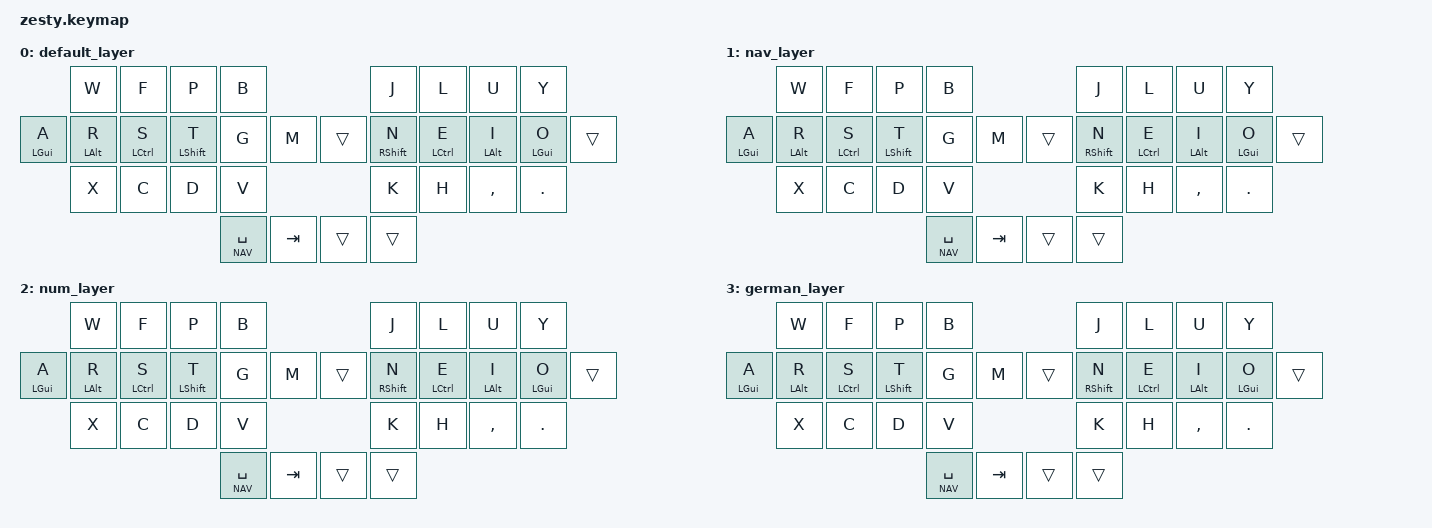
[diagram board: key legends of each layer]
#include <behaviors.dtsi>
#include <dt-bindings/zmk/keys.h>

#include "helper.h"
#include "zesty32keys.h"
#include "german.dtsi"

/* layer and key shortcuts */

#define ___ &trans

#define DEF 0  // layer shortcuts, must match order in which they are defined below
#define NAV 1
#define NUM 2
#define GER 3

/* custom behaviors */

// homerow mods
ZMK_BEHAVIOR(hrm, hold_tap,
    flavor = "balanced";
    tapping-term-ms = <280>;
    quick-tap-ms = <125>;
    bindings = <&kp>, <&kp>;
)

// tap: sticky shift | double tap: capsword
ZMK_BEHAVIOR(ss_cw, tap_dance,
    tapping-term-ms = <200>;
    bindings = <&sk LSHFT>, <&caps_word>;
)

// tap: backspace | shift + tap: delete | hold: num layer
ZMK_BEHAVIOR(bs_del_num, mod_morph,
    bindings = <&lt NUM BSPC>, <&kp DEL>;
    mods = <(MOD_LSFT|MOD_RSFT)>;
)

// windows sleep macro
ZMK_BEHAVIOR(win_sleep, macro,
    wait-ms = <100>;
    tap-ms = <5>;
    bindings = <&kp LG(X) &kp U &kp S>;
)

// euro sign
ZMK_UNICODE_SINGLE(euro_sign, N2, N0, A, C)  // €

// replace a/o/u/s with German umlauts when NAV and NUM are held jointly
ZMK_CONDITIONAL_LAYER(NAV NUM, GER)

// combos
#undef COMBO_TERM
#define COMBO_TERM 40  // timeout of 40ms (default is 30ms if omitted)
ZMK_COMBO(combo_sleep,  &win_sleep, RT2 RT3, NAV)  // custom sleep macro, only active on NAV layer
ZMK_COMBO(combo_copy,   &kp LC(C),  LB2 LB3, ALL)  // Ctrl + C, active on all layers
ZMK_COMBO(combo_paste,  &kp LC(V),  LB1 LB2, ALL)  // Ctrl + V, active on all layers

/* keymap */

ZMK_LAYER(default_layer,
     //               ╭─────────────┬─────────────┬─────────────┬─────────────╮                             ╭─────────────┬─────────────┬─────────────┬─────────────╮
                        &kp W         &kp F         &kp P         &kp B                                       &kp J         &kp L         &kp U         &kp Y        
     // ╭─────────────┼─────────────┼─────────────┼─────────────┼─────────────┤─────────────╮ ╭─────────────├─────────────┼─────────────┼─────────────┼─────────────┼─────────────╮
          &hrm LGUI A   &hrm LALT R   &hrm LCTRL S  &hrm LSHFT T  &kp G         &kp M           ___           &hrm RSHFT N  &hrm LCTRL E  &hrm LALT I   &hrm LGUI O   ___
     // ╰─────────────┼─────────────┼─────────────┼─────────────┼─────────────┤─────────────╯ ╰─────────────├─────────────┼─────────────┼─────────────┼─────────────┼─────────────╯
                        &kp X         &kp C         &kp D         &kp V                                       &kp K         &kp H         &kp COMMA     &kp DOT      
     //               ╰─────────────┼─────────────┼─────────────┼─────────────┤─────────────╮ ╭─────────────├─────────────┼─────────────┼─────────────┼─────────────╯
                                                                  &lt NAV SPACE &kp TAB         ___           ___                    
     //                                                         ╰─────────────┴─────────────╯ ╰─────────────┴─────────────╯
)

ZMK_LAYER(nav_layer,
     //               ╭─────────────┬─────────────┬─────────────┬─────────────╮                             ╭─────────────┬─────────────┬─────────────┬─────────────╮
                        &kp W         &kp F         &kp P         &kp B                                       &kp J         &kp L         &kp U         &kp Y        
     // ╭─────────────┼─────────────┼─────────────┼─────────────┼─────────────┤─────────────╮ ╭─────────────├─────────────┼─────────────┼─────────────┼─────────────┼─────────────╮
          &hrm LGUI A   &hrm LALT R   &hrm LCTRL S  &hrm LSHFT T  &kp G         &kp M           ___           &hrm RSHFT N  &hrm LCTRL E  &hrm LALT I   &hrm LGUI O   ___
     // ╰─────────────┼─────────────┼─────────────┼─────────────┼─────────────┤─────────────╯ ╰─────────────├─────────────┼─────────────┼─────────────┼─────────────┼─────────────╯
                        &kp X         &kp C         &kp D         &kp V                                       &kp K         &kp H         &kp COMMA     &kp DOT      
     //               ╰─────────────┼─────────────┼─────────────┼─────────────┤─────────────╮ ╭─────────────├─────────────┼─────────────┼─────────────┼─────────────╯
                                                                  &lt NAV SPACE &kp TAB         ___           ___                    
     //                                                         ╰─────────────┴─────────────╯ ╰─────────────┴─────────────╯
)

ZMK_LAYER(num_layer,
     //               ╭─────────────┬─────────────┬─────────────┬─────────────╮                             ╭─────────────┬─────────────┬─────────────┬─────────────╮
                        &kp W         &kp F         &kp P         &kp B                                       &kp J         &kp L         &kp U         &kp Y        
     // ╭─────────────┼─────────────┼─────────────┼─────────────┼─────────────┤─────────────╮ ╭─────────────├─────────────┼─────────────┼─────────────┼─────────────┼─────────────╮
          &hrm LGUI A   &hrm LALT R   &hrm LCTRL S  &hrm LSHFT T  &kp G         &kp M           ___           &hrm RSHFT N  &hrm LCTRL E  &hrm LALT I   &hrm LGUI O   ___
     // ╰─────────────┼─────────────┼─────────────┼─────────────┼─────────────┤─────────────╯ ╰─────────────├─────────────┼─────────────┼─────────────┼─────────────┼─────────────╯
                        &kp X         &kp C         &kp D         &kp V                                       &kp K         &kp H         &kp COMMA     &kp DOT      
     //               ╰─────────────┼─────────────┼─────────────┼─────────────┤─────────────╮ ╭─────────────├─────────────┼─────────────┼─────────────┼─────────────╯
                                                                  &lt NAV SPACE &kp TAB         ___           ___                    
     //                                                         ╰─────────────┴─────────────╯ ╰─────────────┴─────────────╯
)

ZMK_LAYER(german_layer,
     //               ╭─────────────┬─────────────┬─────────────┬─────────────╮                             ╭─────────────┬─────────────┬─────────────┬─────────────╮
                        &kp W         &kp F         &kp P         &kp B                                       &kp J         &kp L         &kp U         &kp Y        
     // ╭─────────────┼─────────────┼─────────────┼─────────────┼─────────────┤─────────────╮ ╭─────────────├─────────────┼─────────────┼─────────────┼─────────────┼─────────────╮
          &hrm LGUI A   &hrm LALT R   &hrm LCTRL S  &hrm LSHFT T  &kp G         &kp M           ___           &hrm RSHFT N  &hrm LCTRL E  &hrm LALT I   &hrm LGUI O   ___
     // ╰─────────────┼─────────────┼─────────────┼─────────────┼─────────────┤─────────────╯ ╰─────────────├─────────────┼─────────────┼─────────────┼─────────────┼─────────────╯
                        &kp X         &kp C         &kp D         &kp V                                       &kp K         &kp H         &kp COMMA     &kp DOT      
     //               ╰─────────────┼─────────────┼─────────────┼─────────────┤─────────────╮ ╭─────────────├─────────────┼─────────────┼─────────────┼─────────────╯
                                                                  &lt NAV SPACE &kp TAB         ___           ___                    
     //                                                         ╰─────────────┴─────────────╯ ╰─────────────┴─────────────╯
)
